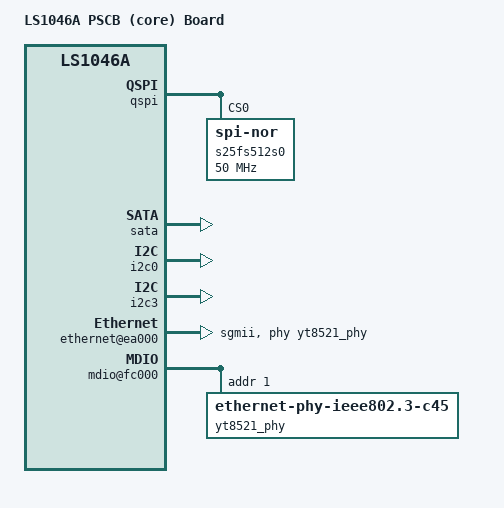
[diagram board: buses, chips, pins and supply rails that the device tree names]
// SPDX-License-Identifier: GPL-2.0+ OR X11
/*
 * Device Tree Include file for Freescale Layerscape-1046A family SoC.
 *
 * Copyright 2016, Freescale Semiconductor
 * Copyright 2020 NXP
 *
 * Mingkai Hu <Mingkai.hu@freescale.com>
 */

/dts-v1/;
#include "fsl-ls1046a.dtsi"

/ {
	model = "LS1046A PSCB (core) Board";

	aliases {
		spi0 = &qspi;
	};

};

&ifc {
	status = "disabled";
};

&qspi {
	status = "okay";

	s25fs512s0: flash@0 {
		#address-cells = <1>;
		#size-cells = <1>;
		compatible = "jedec,spi-nor";
		spi-max-frequency = <50000000>;
		reg = <0>;
	};
};

&sata {
	status = "okay";
};

&i2c0 {
	status = "okay";
};

&i2c3 {
	status = "okay";
};

#include "fsl-ls1046-post.dtsi"

&fman0 {
	ethernet@e4000 {
		status = "disabled";
	};

	ethernet@e6000 {
		status = "disabled";
	};

	ethernet@e8000 {
		status = "disabled";
	};

	ethernet@ea000 {
		phy-handle = <&yt8521_phy>;
		phy-connection-type = "sgmii";
		status = "okay";
	};

	ethernet@f0000 { /* 10GEC1 */
		status = "disabled";
	};

	ethernet@f2000 { /* 10GEC2 */
		status = "disabled";
	};

	mdio@fc000 {
		yt8521_phy: ethernet-phy@1 {
			compatible = "ethernet-phy-ieee802.3-c45";
			interrupts = <0 131 4>;
			reg = <0x1>;
		};
	};

	mdio@fd000 {
		status = "disabled";
	};
};
